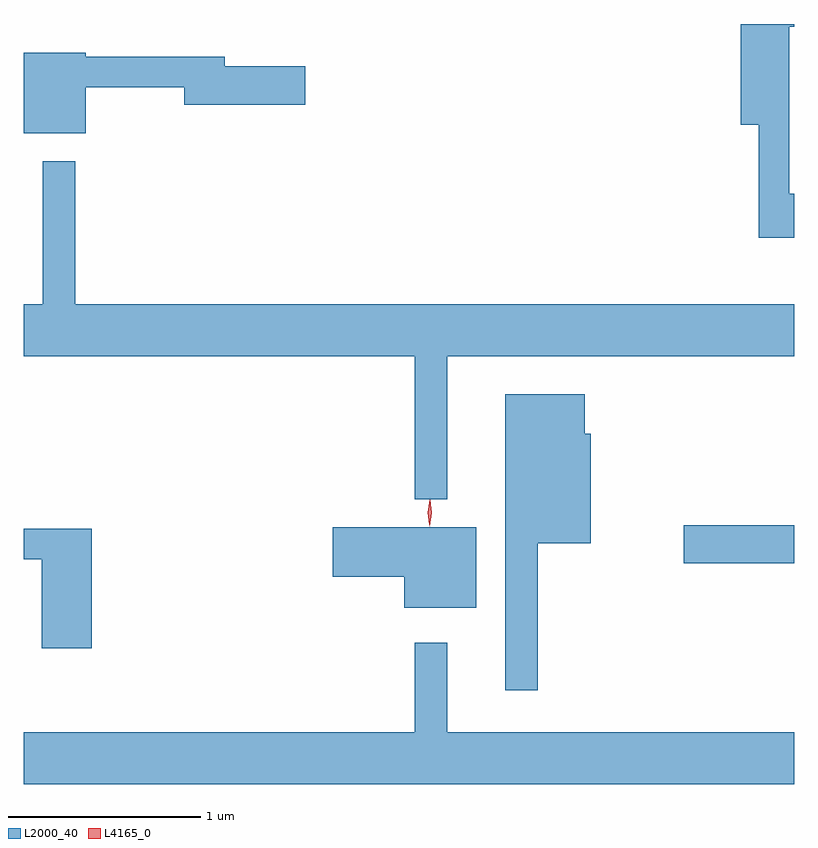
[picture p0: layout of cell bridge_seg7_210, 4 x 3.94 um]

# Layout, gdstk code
import gdstk
lib = gdstk.Library(unit=1e-6, precision=1e-09)
def R(c, l, rs):  # rectangles x0, y0, x1, y1
    for r in rs: c.add(gdstk.rectangle(r[:2], r[2:], *l))
def P(c, l, *ps):  # polygons
    for p in ps: c.add(gdstk.Polygon(p, *l))
L2000_40 = (2000, 40)
L4165_0 = (4165, 0)

bridge_seg7_210 = lib.new_cell('bridge_seg7_210')
R(bridge_seg7_210, L2000_40, [(1563.916,1691.041,1564.491,1691.239)])
P(bridge_seg7_210, L2000_40, [(1564.491,1692.959),(1564.464,1692.959),(1564.464,1693.826),(1564.491,1693.826),(1564.491,1693.839),(1564.211,1693.839),(1564.211,1693.316),(1564.306,1693.316),(1564.306,1692.731),(1564.491,1692.731)],
  [(1560.814,1693.511),(1561.326,1693.511),(1561.326,1693.421),(1561.954,1693.421),(1561.954,1693.619),(1561.534,1693.619),(1561.534,1693.669),(1560.814,1693.669),(1560.814,1693.689),(1560.491,1693.689),(1560.491,1693.271),(1560.814,1693.271)],
  [(1562.689,1692.116),(1564.491,1692.116),(1564.491,1692.384),(1560.759,1692.384),(1560.759,1693.128),(1560.591,1693.128),(1560.591,1692.384),(1560.491,1692.384),(1560.491,1692.116),(1562.521,1692.116),(1562.521,1691.373),(1562.689,1691.373)],
  [(1563.159,1691.146),(1563.434,1691.146),(1563.434,1691.714),(1563.404,1691.714),(1563.404,1691.919),(1562.991,1691.919),(1562.991,1690.383),(1563.159,1690.383)],
  [(1562.839,1691.229),(1562.096,1691.229),(1562.096,1690.971),(1562.466,1690.971),(1562.466,1690.811),(1562.839,1690.811)],
  [(1560.844,1691.219),(1560.491,1691.219),(1560.491,1691.061),(1560.586,1691.061),(1560.586,1690.601),(1560.844,1690.601)],
  [(1564.491,1690.164),(1562.689,1690.164),(1562.689,1690.628),(1562.521,1690.628),(1562.521,1690.164),(1560.491,1690.164),(1560.491,1689.896),(1564.491,1689.896)])
P(bridge_seg7_210, L4165_0, [(1562.598,1691.24),(1562.597,1691.241),(1562.589,1691.304),(1562.599,1691.366),(1562.6,1691.367),(1562.6,1691.366),(1562.609,1691.303),(1562.598,1691.241)],
  [(1562.598,1691.234),(1562.598,1691.234),(1562.589,1691.302),(1562.599,1691.37),(1562.6,1691.37),(1562.6,1691.37),(1562.609,1691.302),(1562.599,1691.234)])

lib.write_gds('bridge_seg7_210.gds')
